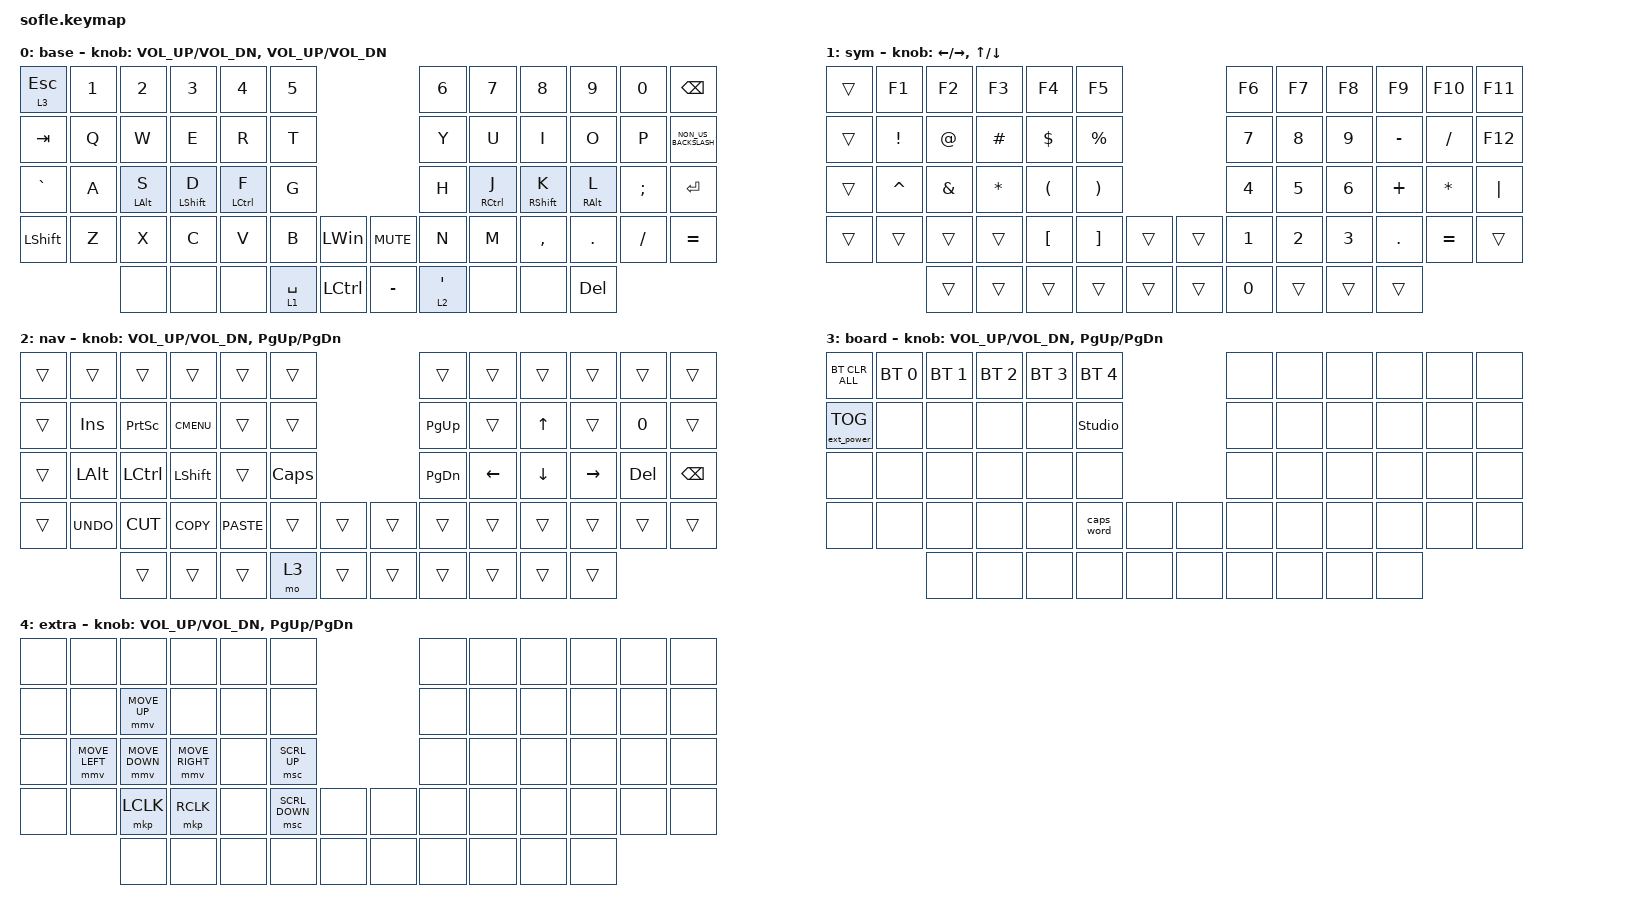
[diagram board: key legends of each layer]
/*
 * Copyright (c) 2020 The ZMK Contributors
 *
 * SPDX-License-Identifier: MIT
 */

#include <behaviors.dtsi>
#include <dt-bindings/zmk/bt.h>
#include <dt-bindings/zmk/ext_power.h>
#include <dt-bindings/zmk/keys.h>
#include <dt-bindings/zmk/pointing.h>

/*
// Encoders

&sensors { triggers-per-rotation = <30>; };

&left_encoder { steps = <60>; };

&right_encoder { steps = <60>; };
*/

#define BASE 0
#define LOWER 1
#define RAISE 2
#define ADJUST 3
#define EXTRA 4

&mt {
    flavor = "balanced";
    hold-trigger-on-release;
    require-prior-idle-ms = <125>;
};

/ {
    combos { compatible = "zmk,combos"; };

    keymap {
        compatible = "zmk,keymap";

        // swap C_MUTE & EQUAL for encoder on the right

        default_layer {
            display-name = "base";

            // ------------------------------------------------------------------------------------------------------------
            // |   `   |  1  |  2  |  3   |  4   |  5   |                   |  6   |  7    |  8    |  9   |   0   |       |
            // |  ESC  |  Q  |  W  |  E   |  R   |  T   |                   |  Y   |  U    |  I    |  O   |   P   | BKSPC |
            // |  TAB  |  A  |  S  |  D   |  F   |  G   |                   |  H   |  J    |  K    |  L   |   ;   |   '   |
            // | SHIFT |  Z  |  X  |  C   |  V   |  B   |  MUTE  |  |       |  N   |  M    |  ,    |  .   |   /   | SHIFT |
            //               | GUI | ALT  | CTRL | LOWER|  ENTER |  | SPACE | RAISE| CTRL  | ALT   | GUI  |

            bindings = <
&lt 3 ESCAPE    &kp N1  &kp N2          &kp N3            &kp N4       &kp N5                                   &kp N6     &kp N7       &kp N8             &kp N9           &kp N0    &kp BACKSPACE
&kp TAB         &kp Q   &kp W           &kp E             &kp R        &kp T                                    &kp Y      &kp U        &kp I              &kp O            &kp P     &kp NON_US_BACKSLASH
&kp GRAVE       &kp A   &mt LEFT_ALT S  &mt LEFT_SHIFT D  &mt LCTRL F  &kp G                                    &kp H      &mt RCTRL J  &mt RIGHT_SHIFT K  &mt RIGHT_ALT L  &kp SEMI  &kp ENTER
&kp LEFT_SHIFT  &kp Z   &kp X           &kp C             &kp V        &kp B        &kp LEFT_WIN    &kp C_MUTE  &kp N      &kp M        &kp COMMA          &kp DOT          &kp FSLH  &kp EQUAL
                        &none           &none             &none        &lt 1 SPACE  &kp LCTRL       &kp MINUS   &lt 2 SQT  &none        &none              &kp DELETE
            >;

            sensor-bindings = <&inc_dec_kp C_VOL_UP C_VOL_DN &inc_dec_kp C_VOL_UP C_VOL_DN>;
        };

        lower_layer {
            display-name = "sym";

            // TODO: Some binds are waiting for shifted keycode support.
            // ------------------------------------------------------------------------------------------------------------
            // |       |  F1 |  F2 |  F3  |  F4  |  F5  |                   |  F6  |  F7   |  F8   |  F9  |  F10  |  F11  |
            // |   `   |  1  |  2  |  3   |  4   |  5   |                   |  6   |  7    |  8    |  9   |   0   |  F12  |
            // |       |  !  |  @  |  #   |  $   |  %   |                   |  ^   |  &    |  *    |  (   |   )   |   |   |
            // |       |  =  |  -  |  +   |  {   |  }   |        |  |       |  [   |  ]    |  ;    |  :   |   \   |       |
            //               |     |      |      |      |        |  |       |      |       |       |      |

            bindings = <
&trans  &kp F1     &kp F2         &kp F3     &kp F4                &kp F5                                   &kp F6        &kp F7        &kp F8        &kp F9      &kp F10       &kp F11
&trans  &kp EXCL   &kp AT         &kp HASH   &kp DOLLAR            &kp PERCENT                              &kp N7        &kp N8        &kp N9        &kp MINUS   &kp SLASH     &kp F12
&trans  &kp CARET  &kp AMPERSAND  &kp ASTRK  &kp LEFT_PARENTHESIS  &kp RIGHT_PARENTHESIS                    &kp NUMBER_4  &kp N5        &kp NUMBER_6  &kp PLUS    &kp ASTERISK  &kp PIPE
&trans  &trans     &trans         &trans     &kp LEFT_BRACKET      &kp RIGHT_BRACKET      &trans    &trans  &kp NUMBER_1  &kp NUMBER_2  &kp NUMBER_3  &kp PERIOD  &kp EQUAL     &trans
                   &trans         &trans     &trans                &trans                 &trans    &trans  &kp N0        &trans        &trans        &trans
            >;

            sensor-bindings =
                <&inc_dec_kp LEFT_ARROW RIGHT_ARROW>,
                <&inc_dec_kp UP_ARROW DOWN_ARROW>;
        };

        raise_layer {
            display-name = "nav";

            // ------------------------------------------------------------------------------------------------------------
            // | BTCLR | BT1  | BT2  |  BT3  |  BT4  |  BT5 |                |      |      |       |      |       |       |
            // |       | INS  | PSCR | GUI   |       |      |                | PGUP |      |   ^   |      |       |       |
            // |       | ALT  | CTRL | SHIFT |       | CAPS |                | PGDN |   <- |   v   |  ->  |  DEL  | BKSPC |
            // |       | UNDO | CUT  | COPY  | PASTE |      |      |  |      |      |      |       |      |       |       |
            //                |      |       |       |      |      |  |      |      |      |       |      |

            bindings = <
&trans  &trans      &trans     &trans       &trans       &trans                      &trans     &trans    &trans    &trans     &trans   &trans
&trans  &kp INS     &kp PSCRN  &kp K_CMENU  &trans       &trans                      &kp PG_UP  &trans    &kp UP    &trans     &kp N0   &trans
&trans  &kp LALT    &kp LCTRL  &kp LSHFT    &trans       &kp CLCK                    &kp PG_DN  &kp LEFT  &kp DOWN  &kp RIGHT  &kp DEL  &kp BSPC
&trans  &kp K_UNDO  &kp K_CUT  &kp K_COPY   &kp K_PASTE  &trans    &trans    &trans  &trans     &trans    &trans    &trans     &trans   &trans
                    &trans     &trans       &trans       &mo 3     &trans    &trans  &trans     &trans    &trans    &trans
            >;

            sensor-bindings = <&inc_dec_kp C_VOL_UP C_VOL_DN &inc_dec_kp PG_UP PG_DN>;
        };

        adjust_layer {
            // ----------------------------------------------------------------------------------------------------------------------------
            // | BTCLR  |  BT1    |  BT2    |   BT3   |   BT4   |   BT5   |                  |      |      |       |      |       |       |
            // | EXTPWR | RGB_HUD | RGB_HUI | RGB_SAD | RGB_SAI | RGB_EFF |                  |      |      |       |      |       |       |
            // |        | RGB_BRD | RGB_BRI |         |         |         |                  |      |      |       |      |       |       |
            // |        |         |         |         |         |         | RGB_TOG | |      |      |      |       |      |       |       |
            //                    |         |         |         |         |         | |      |      |      |       |      |

            display-name = "board";
            bindings = <
&bt BT_CLR_ALL     &bt BT_SEL 0  &bt BT_SEL 1  &bt BT_SEL 2  &bt BT_SEL 3  &bt BT_SEL 4                    &none  &none  &none  &none  &none  &none
&ext_power EP_TOG  &none         &none         &none         &none         &studio_unlock                  &none  &none  &none  &none  &none  &none
&none              &none         &none         &none         &none         &none                           &none  &none  &none  &none  &none  &none
&none              &none         &none         &none         &none         &caps_word      &none    &none  &none  &none  &none  &none  &none  &none
                                 &none         &none         &none         &none           &none    &none  &none  &none  &none  &none
            >;

            sensor-bindings = <&inc_dec_kp C_VOL_UP C_VOL_DN &inc_dec_kp PG_UP PG_DN>;
        };

        extra_layer {
            // ----------------------------------------------------------------------------------------------------------------------------
            // | BTCLR  |  BT1    |  BT2    |   BT3   |   BT4   |   BT5   |                  |      |      |       |      |       |       |
            // | EXTPWR | RGB_HUD | RGB_HUI | RGB_SAD | RGB_SAI | RGB_EFF |                  |      |      |       |      |       |       |
            // |        | RGB_BRD | RGB_BRI |         |         |         |                  |      |      |       |      |       |       |
            // |        |         |         |         |         |         | RGB_TOG | |      |      |      |       |      |       |       |
            //                    |         |         |         |         |         | |      |      |      |       |      |

            display-name = "extra";
            bindings = <
&none  &none           &none           &none            &none  &none                           &none  &none  &none  &none  &none  &none
&none  &none           &mmv MOVE_UP    &none            &none  &none                           &none  &none  &none  &none  &none  &none
&none  &mmv MOVE_LEFT  &mmv MOVE_DOWN  &mmv MOVE_RIGHT  &none  &msc SCRL_UP                    &none  &none  &none  &none  &none  &none
&none  &none           &mkp LCLK       &mkp RCLK        &none  &msc SCRL_DOWN  &none    &none  &none  &none  &none  &none  &none  &none
                       &none           &none            &none  &none           &none    &none  &none  &none  &none  &none
            >;

            sensor-bindings = <&inc_dec_kp C_VOL_UP C_VOL_DN &inc_dec_kp PG_UP PG_DN>;
        };
    };
};
